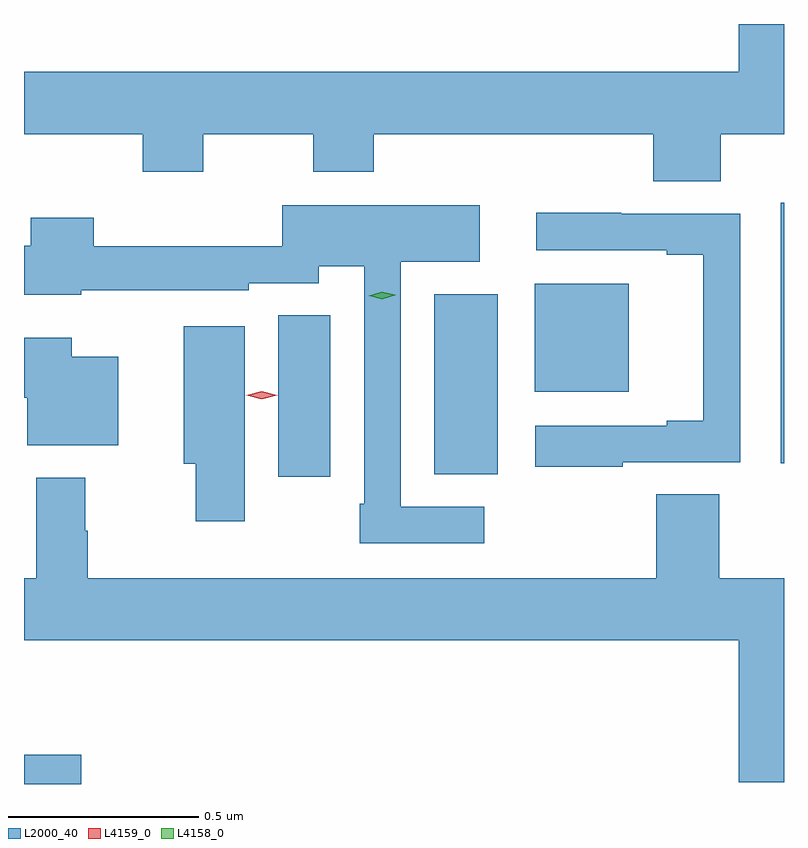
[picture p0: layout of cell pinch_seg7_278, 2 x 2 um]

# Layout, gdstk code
import gdstk
lib = gdstk.Library(unit=1e-6, precision=1e-09)
def R(c, l, rs):  # rectangles x0, y0, x1, y1
    for r in rs: c.add(gdstk.rectangle(r[:2], r[2:], *l))
def P(c, l, *ps):  # polygons
    for p in ps: c.add(gdstk.Polygon(p, *l))
L2000_40 = (2000, 40)
L4158_0 = (4158, 0)
L4159_0 = (4159, 0)

pinch_seg7_278 = lib.new_cell('pinch_seg7_278')
R(pinch_seg7_278, L2000_40, [(798.491,1012.226,798.641,1012.303), (799.16,1013.034,799.297,1013.459), (799.571,1013.041,799.738,1013.515), (800.483,1013.07,800.491,1013.755), (799.835,1013.258,800.083,1013.542)])
P(pinch_seg7_278, L2000_40, [(800.324,1013.936),(800.491,1013.936),(800.491,1014.226),(800.372,1014.226),(800.372,1014.1),(798.491,1014.1),(798.491,1013.936),(798.803,1013.936),(798.803,1013.837),(798.963,1013.837),(798.963,1013.936),(799.252,1013.936),(799.252,1013.837),(799.412,1013.837),(799.412,1013.936),(800.147,1013.936),(800.147,1013.812),(800.324,1013.812)],
  [(799.702,1012.956),(799.482,1012.956),(799.482,1013.6),(799.69,1013.6),(799.69,1013.749),(799.17,1013.749),(799.17,1013.641),(798.674,1013.641),(798.674,1013.716),(798.509,1013.716),(798.509,1013.643),(798.491,1013.643),(798.491,1013.513),(798.642,1013.513),(798.642,1013.525),(799.083,1013.525),(799.083,1013.544),(799.266,1013.544),(799.266,1013.588),(799.386,1013.588),(799.386,1012.963),(799.374,1012.963),(799.374,1012.86),(799.702,1012.86)],
  [(800.066,1013.073),(800.376,1013.073),(800.376,1013.727),(800.063,1013.727),(800.063,1013.729),(799.839,1013.729),(799.839,1013.631),(800.183,1013.631),(800.183,1013.619),(800.279,1013.619),(800.279,1013.182),(800.183,1013.182),(800.183,1013.169),(799.836,1013.169),(799.836,1013.061),(800.066,1013.061)],
  [(799.072,1013.431),(798.911,1013.431),(798.911,1013.069),(798.943,1013.069),(798.943,1012.917),(799.072,1012.917)],
  [(798.739,1013.35),(798.616,1013.35),(798.616,1013.401),(798.491,1013.401),(798.491,1013.242),(798.5,1013.242),(798.5,1013.117),(798.739,1013.117)],
  [(800.491,1012.768),(800.321,1012.768),(800.321,1012.988),(800.155,1012.988),(800.155,1012.768),(798.659,1012.768),(798.659,1012.892),(798.652,1012.892),(798.652,1013.032),(798.523,1013.032),(798.523,1012.768),(798.491,1012.768),(798.491,1012.604),(800.372,1012.604),(800.372,1012.23),(800.491,1012.23)])
P(pinch_seg7_278, L4158_0, [(799.434,1013.502),(799.398,1013.511),(799.398,1013.511),(799.398,1013.511),(799.433,1013.522),(799.468,1013.513),(799.468,1013.513),(799.468,1013.512)])
P(pinch_seg7_278, L4159_0, [(799.117,1013.239),(799.076,1013.249),(799.075,1013.249),(799.076,1013.249),(799.116,1013.259),(799.157,1013.249),(799.158,1013.249),(799.157,1013.249)])

lib.write_gds('pinch_seg7_278.gds')
